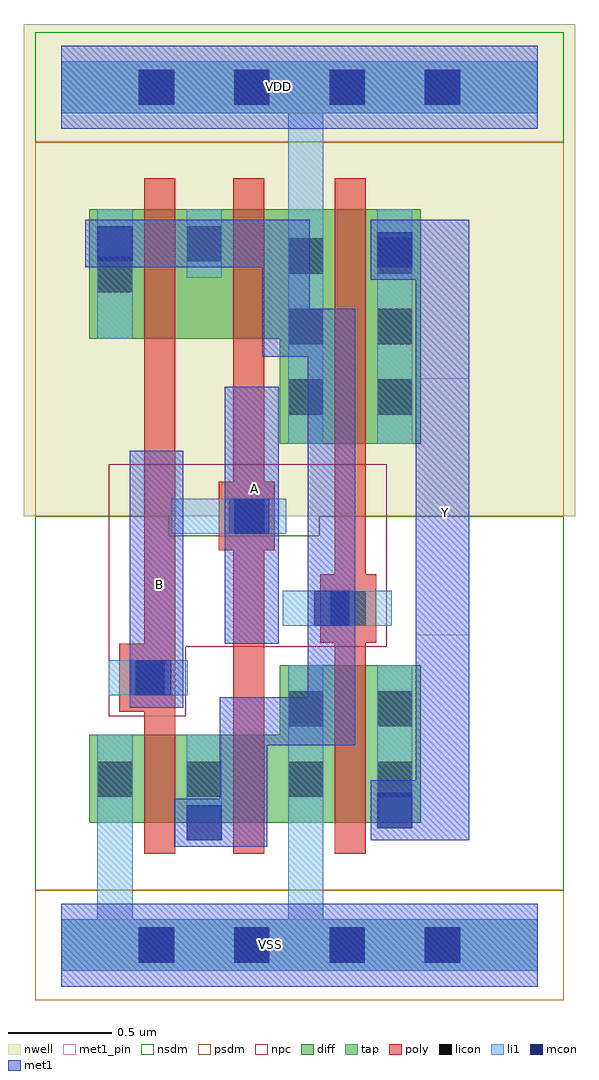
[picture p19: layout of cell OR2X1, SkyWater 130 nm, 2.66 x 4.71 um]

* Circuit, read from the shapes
.subckt OR2X1 A B VDD VSS Y
XM1 n1 B VSS VSS sky130_fd_pr__nfet_01v8 w=0.425 l=0.15
XM2 VSS A n1 VSS sky130_fd_pr__nfet_01v8 w=0.425 l=0.15
XM3 Y n1 VSS VSS sky130_fd_pr__nfet_01v8 w=0.76 l=0.15
XM4 n2 B n1 VDD sky130_fd_pr__pfet_01v8 w=0.625 l=0.15
XM5 VDD A n2 VDD sky130_fd_pr__pfet_01v8 w=0.625 l=0.15
XM6 Y n1 VDD VDD sky130_fd_pr__pfet_01v8 w=1.13 l=0.15
.ends

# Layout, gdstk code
from math import pi, radians
import gdstk
lib = gdstk.Library(unit=1e-6, precision=1e-09)
def R(c, l, rs):  # rectangles x0, y0, x1, y1
    for r in rs: c.add(gdstk.rectangle(r[:2], r[2:], *l))
def A(c, l, x, y, w, h, nx, ny, dx, dy):  # array of equal rectangles
    R(c, l, [(x+i*dx, y+j*dy, x+i*dx+w, y+j*dy+h) for i in range(nx) for j in range(ny)])
def P(c, l, *ps):  # polygons
    for p in ps: c.add(gdstk.Polygon(p, *l))
nwell = (64, 20)
diff = (65, 20)
tap = (65, 44)
poly = (66, 20)
licon = (66, 44)
li1 = (67, 20)
mcon = (67, 44)
met1_pin = (68, 16)
met1 = (68, 20)
nsdm = (93, 44)
psdm = (94, 20)
npc = (95, 20)

nfet_01v8_cdns_715785618 = lib.new_cell('nfet_01v8_CDNS_7157856182011')
R(nfet_01v8_cdns_715785618, diff, [(-0.265,0,0,0.425), (0,0,0.15,0.425), (0.15,0,0.205,0.425)])
R(nfet_01v8_cdns_715785618, poly, [(0,-0.15,0.15,-0.095), (0,-0.095,0.15,0), (0,0,0.15,0.425), (0,0.425,0.15,0.52), (0,0.52,0.15,0.575)])
R(nfet_01v8_cdns_715785618, licon, [(-0.225,0.125,-0.055,0.295)])
R(nfet_01v8_cdns_715785618, li1, [(-0.225,0,-0.055,0.425)])
R(nfet_01v8_cdns_715785618, nsdm, [(-0.405,-0.13,0.215,0.555)])

pfet_01v8_cdns_715785618 = lib.new_cell('pfet_01v8_CDNS_7157856182051')
R(pfet_01v8_cdns_715785618, nwell, [(-0.255,-0.18,0.555,0.805)])
R(pfet_01v8_cdns_715785618, diff, [(-0.075,0,0,0.625), (0,0,0.15,0.625), (0.15,0,0.375,0.625)])
R(pfet_01v8_cdns_715785618, poly, [(0,-0.15,0.15,-0.095), (0,-0.095,0.15,0), (0,0,0.15,0.625), (0,0.625,0.15,0.72), (0,0.72,0.15,0.775)])
R(pfet_01v8_cdns_715785618, psdm, [(0.045,-0.13,0.385,0.755)])

c_pfet_01v8_cdns_715785618 = lib.new_cell('pfet_01v8_CDNS_7157856182076')
R(c_pfet_01v8_cdns_715785618, nwell, [(-0.235,-0.18,0.595,0.805)])
R(c_pfet_01v8_cdns_715785618, diff, [(-0.055,0,0,0.625), (0,0,0.15,0.625), (0.15,0,0.415,0.625)])
R(c_pfet_01v8_cdns_715785618, poly, [(0,-0.15,0.15,-0.095), (0,-0.095,0.15,0), (0,0,0.15,0.625), (0,0.625,0.15,0.72), (0,0.72,0.15,0.775)])
R(c_pfet_01v8_cdns_715785618, licon, [(0.205,0.225,0.375,0.395)])
R(c_pfet_01v8_cdns_715785618, li1, [(0.205,0,0.375,0.625)])
R(c_pfet_01v8_cdns_715785618, psdm, [(-0.065,-0.13,0.555,0.755)])

c_nfet_01v8_cdns_715785618 = lib.new_cell('nfet_01v8_CDNS_7157856182034')
R(c_nfet_01v8_cdns_715785618, diff, [(-0.265,0,0,0.76), (0,0,0.15,0.76), (0.15,0,0.415,0.76)])
R(c_nfet_01v8_cdns_715785618, poly, [(0,-0.15,0.15,-0.095), (0,-0.095,0.15,0), (0,0,0.15,0.76), (0,0.76,0.15,0.855), (0,0.855,0.15,0.91)])
R(c_nfet_01v8_cdns_715785618, licon, [(-0.225,0.125,-0.055,0.295), (0.205,0.125,0.375,0.295), (-0.225,0.465,-0.055,0.635), (0.205,0.465,0.375,0.635)])
R(c_nfet_01v8_cdns_715785618, li1, [(-0.225,0,-0.055,0.76), (0.205,0,0.375,0.76)])
R(c_nfet_01v8_cdns_715785618, nsdm, [(-0.405,-0.13,0.555,0.89)])

c_pfet_01v8_cdns_715785618_ = lib.new_cell('pfet_01v8_CDNS_7157856182038')
R(c_pfet_01v8_cdns_715785618_, nwell, [(-0.445,-0.18,0.595,1.31)])
R(c_pfet_01v8_cdns_715785618_, diff, [(-0.265,0,0,1.13), (0,0,0.15,1.13), (0.15,0,0.415,1.13)])
R(c_pfet_01v8_cdns_715785618_, poly, [(0,-0.15,0.15,-0.095), (0,-0.095,0.15,0), (0,0,0.15,1.13), (0,1.13,0.15,1.225), (0,1.225,0.15,1.28)])
A(c_pfet_01v8_cdns_715785618_, licon, -0.225, 0.14, 0.17, 0.17, 1, 3, 0, 0.34)
A(c_pfet_01v8_cdns_715785618_, licon, 0.205, 0.14, 0.17, 0.17, 1, 3, 0, 0.34)
R(c_pfet_01v8_cdns_715785618_, li1, [(-0.225,0,-0.055,1.13), (0.205,0,0.375,1.13)])
R(c_pfet_01v8_cdns_715785618_, psdm, [(-0.405,-0.13,0.555,1.26)])

c_nfet_01v8_cdns_715785618_ = lib.new_cell('nfet_01v8_CDNS_71578561820120')
R(c_nfet_01v8_cdns_715785618_, diff, [(-0.075,0,0,0.425), (0,0,0.15,0.425), (0.15,0,0.375,0.425)])
R(c_nfet_01v8_cdns_715785618_, poly, [(0,-0.15,0.15,-0.095), (0,-0.095,0.15,0), (0,0,0.15,0.425), (0,0.425,0.15,0.52), (0,0.52,0.15,0.575)])
R(c_nfet_01v8_cdns_715785618_, licon, [(0.205,0.125,0.375,0.295)])
R(c_nfet_01v8_cdns_715785618_, li1, [(0.205,0,0.375,0.425)])
R(c_nfet_01v8_cdns_715785618_, nsdm, [(0.045,-0.13,0.385,0.555)])

l1m1_c_cdns_715785618202 = lib.new_cell('L1M1_C_CDNS_7157856182024')
R(l1m1_c_cdns_715785618202, li1, [(-0.085,-0.085,0.085,0.165)])
R(l1m1_c_cdns_715785618202, mcon, [(-0.085,-0.085,0.085,0.085)])
R(l1m1_c_cdns_715785618202, met1, [(-0.145,-0.115,0.145,0.115)])

lilicon_c_cdns_715785618 = lib.new_cell('LILICON_C_CDNS_7157856182025')
R(lilicon_c_cdns_715785618, licon, [(-0.085,-0.085,0.085,0.085), (-0.085,-0.085,0.085,0.085)])
R(lilicon_c_cdns_715785618, li1, [(-0.085,-0.165,0.085,0.165)])

c_l1m1_c_cdns_715785618202 = lib.new_cell('L1M1_C_CDNS_715785618202')
R(c_l1m1_c_cdns_715785618202, li1, [(-0.085,-0.165,0.085,0.165)])
R(c_l1m1_c_cdns_715785618202, mcon, [(-0.085,-0.085,0.085,0.085)])
R(c_l1m1_c_cdns_715785618202, met1, [(-0.115,-0.145,0.115,0.145)])

l1m1_c_cdns_715785618206 = lib.new_cell('L1M1_C_CDNS_715785618206')
R(l1m1_c_cdns_715785618206, li1, [(-0.085,-0.165,0.085,0.165)])
R(l1m1_c_cdns_715785618206, mcon, [(-0.085,-0.085,0.085,0.085)])
R(l1m1_c_cdns_715785618206, met1, [(-0.145,-0.115,0.145,0.115)])

pyl1con_c_cdns_715785618 = lib.new_cell('PYL1CON_C_CDNS_715785618200')
R(pyl1con_c_cdns_715785618, poly, [(-0.135,-0.165,0.135,0.165)])
R(pyl1con_c_cdns_715785618, licon, [(-0.085,-0.085,0.085,0.085)])
R(pyl1con_c_cdns_715785618, npc, [(-0.185,-0.185,0.185,0.185)])

l1m1_c_cdns_715785618203 = lib.new_cell('L1M1_C_CDNS_715785618203')
R(l1m1_c_cdns_715785618203, li1, [(-0.165,-0.085,0.165,0.085)])
R(l1m1_c_cdns_715785618203, mcon, [(-0.085,-0.085,0.085,0.085)])
R(l1m1_c_cdns_715785618203, met1, [(-0.115,-0.145,0.115,0.145)])

l1m1_c_cdns_715785618201 = lib.new_cell('L1M1_C_CDNS_7157856182010')
R(l1m1_c_cdns_715785618201, li1, [(-0.085,-0.085,0.085,0.165)])
R(l1m1_c_cdns_715785618201, mcon, [(-0.085,-0.085,0.085,0.085)])
R(l1m1_c_cdns_715785618201, met1, [(-0.115,-0.145,0.115,0.145)])

or2x1 = lib.new_cell('OR2X1')
R(or2x1, nwell, [(-0.18,2.07,2.48,4.305), (-0.18,3.875,2.48,4.445)])
R(or2x1, licon, [(0.375,-0.085,0.545,0.085), (0.375,-0.085,0.545,0.085), (0.835,-0.085,1.005,0.085), (0.835,-0.085,1.005,0.085), (1.295,-0.085,1.465,0.085), (1.295,-0.085,1.465,0.085), (1.755,-0.085,1.925,0.085), (1.755,-0.085,1.925,0.085), (0.375,4.055,0.545,4.225), (0.375,4.055,0.545,4.225), (0.835,4.055,1.005,4.225), (0.835,4.055,1.005,4.225), (1.295,4.055,1.465,4.225), (1.295,4.055,1.465,4.225), (1.755,4.055,1.925,4.225), (1.755,4.055,1.925,4.225)])
R(or2x1, mcon, [(0.375,-0.085,0.545,0.085), (0.375,-0.085,0.545,0.085), (0.835,-0.085,1.005,0.085), (0.835,-0.085,1.005,0.085), (1.295,-0.085,1.465,0.085), (1.295,-0.085,1.465,0.085), (1.755,-0.085,1.925,0.085), (1.755,-0.085,1.925,0.085), (0.375,4.055,0.545,4.225), (0.375,4.055,0.545,4.225), (0.835,4.055,1.005,4.225), (0.835,4.055,1.005,4.225), (1.295,4.055,1.465,4.225), (1.295,4.055,1.465,4.225), (1.755,4.055,1.925,4.225), (1.755,4.055,1.925,4.225)])
R(or2x1, met1_pin, [(0.33,1.145,0.59,2.385), (0.79,1.455,1.05,2.695), (1.71,1.495,1.97,2.735)])
R(or2x1, nsdm, [(-0.125,3.875,2.425,4.405), (-0.125,3.875,2.425,4.405), (-0.125,3.93,2.425,4.35), (-0.125,3.93,2.425,4.35)])
P(or2x1, nsdm, [(2.425,2.07),(1.245,2.07),(1.245,1.975),(0.52,1.975),(0.52,2.07),(-0.125,2.07),(-0.125,0.265),(2.425,0.265)])
R(or2x1, psdm, [(-0.125,-0.265,2.425,0.265), (-0.125,-0.21,2.425,0.21)])
P(or2x1, psdm, [(2.425,3.875),(-0.125,3.875),(-0.125,2.07),(0.52,2.07),(0.52,1.975),(1.245,1.975),(1.245,2.07),(2.425,2.07)])
R(or2x1, npc, [(0.23,1.105,0.45,2.32), (0.45,1.44,1.57,2.32)])
or2x1.add(gdstk.FlexPath([(0.905,1.165),(0.905,2.775)], 0.15, ends="flush", simple_path=True, layer=66, datatype=20))  # poly
or2x1.add(gdstk.FlexPath([(0.475,2.775),(0.475,1.165)], 0.15, ends="flush", simple_path=True, layer=66, datatype=20))  # poly
or2x1.add(gdstk.FlexPath([(1.395,2.27),(1.395,1.5)], 0.15, ends="flush", simple_path=True, layer=66, datatype=20))  # poly
or2x1.add(gdstk.FlexPath([(0.445,1.29),(0.23,1.29)], 0.17, ends="flush", simple_path=True, layer=67, datatype=20))  # li1
or2x1.add(gdstk.FlexPath([(1.06,2.07),(0.53,2.07)], 0.17, ends="flush", simple_path=True, layer=67, datatype=20))  # li1
or2x1.add(gdstk.FlexPath([(1.595,1.625),(1.07,1.625)], 0.17, ends="flush", simple_path=True, layer=67, datatype=20))  # li1
or2x1.add(gdstk.FlexPath([(2.215,0),(0,0)], 0.25, ends=(0.085, 0), simple_path=True, layer=67, datatype=20))  # li1
or2x1.add(gdstk.FlexPath([(2.215,0),(0,0)], 0.25, ends=(0.085, 0), simple_path=True, layer=67, datatype=20))  # li1
or2x1.add(gdstk.FlexPath([(2.215,4.14),(0,4.14)], 0.25, ends=(0.085, 0), simple_path=True, layer=67, datatype=20))  # li1
or2x1.add(gdstk.FlexPath([(2.215,4.14),(0,4.14)], 0.25, ends=(0.085, 0), simple_path=True, layer=67, datatype=20))  # li1
or2x1.add(gdstk.FlexPath([(1.18,0.59),(1.18,0)], 0.17, ends="flush", simple_path=True, layer=67, datatype=20))  # li1
or2x1.add(gdstk.FlexPath([(0.26,0),(0.215,0)], 0.17, ends=(0.085, 0), simple_path=True, layer=67, datatype=20))  # li1
or2x1.add(gdstk.FlexPath([(0.26,0.59),(0.26,0)], 0.17, ends=(0, 0.085), simple_path=True, layer=67, datatype=20))  # li1
or2x1.add(gdstk.FlexPath([(1.18,3.55),(1.18,4.14)], 0.17, ends="flush", simple_path=True, layer=67, datatype=20))  # li1
or2x1.add(gdstk.FlexPath([(0,0),(2.3,0)], 0.25, ends="flush", simple_path=True, layer=65, datatype=44))  # tap
or2x1.add(gdstk.FlexPath([(0,0),(2.3,0)], 0.25, ends="flush", simple_path=True, layer=65, datatype=44))  # tap
or2x1.add(gdstk.FlexPath([(0,4.14),(2.3,4.14)], 0.25, ends="flush", simple_path=True, layer=65, datatype=44))  # tap
or2x1.add(gdstk.FlexPath([(0,4.14),(2.3,4.14)], 0.25, ends="flush", simple_path=True, layer=65, datatype=44))  # tap
or2x1.add(gdstk.FlexPath([(0.92,1.455),(0.92,2.695)], 0.26, ends="flush", simple_path=True, layer=68, datatype=20))  # met1
or2x1.add(gdstk.FlexPath([(0.275,3.385),(1.085,3.385)], 0.23, ends=(0, 0.115), simple_path=True, layer=68, datatype=20))  # met1
or2x1.add(gdstk.FlexPath([(1.305,1.92),(1.305,1.68)], 0.23, ends=(0, 0.115), simple_path=True, layer=68, datatype=20))  # met1
or2x1.add(gdstk.FlexPath([(1.085,3.385),(1.085,2.955)], 0.23, ends=(0, 0.115), simple_path=True, layer=68, datatype=20))  # met1
or2x1.add(gdstk.FlexPath([(1.305,1.08),(0.88,1.08)], 0.23, ends="extended", simple_path=True, layer=68, datatype=20))  # met1
or2x1.add(gdstk.FlexPath([(1.305,2.955),(1.305,1.92)], 0.23, ends=(0.115, 0), simple_path=True, layer=68, datatype=20))  # met1
or2x1.add(gdstk.FlexPath([(0.46,1.145),(0.46,2.385)], 0.26, ends="flush", simple_path=True, layer=68, datatype=20))  # met1
or2x1.add(gdstk.FlexPath([(1.84,0.505),(1.84,3.5)], 0.26, ends="flush", simple_path=True, layer=68, datatype=20))  # met1
or2x1.add(gdstk.FlexPath([(1.305,1.425),(1.305,1.08)], 0.23, ends=(0, 0.115), simple_path=True, layer=68, datatype=20))  # met1
or2x1.add(gdstk.FlexPath([(1.085,2.955),(1.305,2.955)], 0.23, ends="extended", simple_path=True, layer=68, datatype=20))  # met1
or2x1.add(gdstk.FlexPath([(0.88,1.08),(0.88,0.475)], 0.23, ends=(0.115, 0), simple_path=True, layer=68, datatype=20))  # met1
or2x1.add(gdstk.FlexPath([(1.305,1.68),(1.305,1.425)], 0.23, ends=(0, 0.115), simple_path=True, layer=68, datatype=20))  # met1
or2x1.add(gdstk.FlexPath([(0,0),(2.3,0)], 0.4, ends="flush", simple_path=True, layer=68, datatype=20))  # met1
or2x1.add(gdstk.FlexPath([(0,4.14),(2.3,4.14)], 0.4, ends="flush", simple_path=True, layer=68, datatype=20))  # met1
or2x1.add(gdstk.FlexPath([(0,0),(2.3,0)], 0.4, ends="flush", simple_path=True, layer=68, datatype=16))  # met1_pin
or2x1.add(gdstk.FlexPath([(0,4.14),(2.3,4.14)], 0.4, ends="flush", simple_path=True, layer=68, datatype=16))  # met1_pin
or2x1.add(gdstk.FlexPath([(0,4.14),(2.3,4.14)], 0.4, ends="flush", simple_path=True, layer=68, datatype=16))  # met1_pin
or2x1.add(gdstk.FlexPath([(0,0),(2.3,0)], 0.4, ends="flush", simple_path=True, layer=68, datatype=16))  # met1_pin
or2x1.add(gdstk.Reference(nfet_01v8_cdns_715785618, (0.4,0.59)))
or2x1.add(gdstk.Reference(pfet_01v8_cdns_715785618, (0.98,2.925), rotation=pi, x_reflection=True))
or2x1.add(gdstk.Reference(c_pfet_01v8_cdns_715785618, (0.55,2.925), rotation=pi, x_reflection=True))
or2x1.add(gdstk.Reference(c_nfet_01v8_cdns_715785618, (1.32,0.59)))
or2x1.add(gdstk.Reference(c_pfet_01v8_cdns_715785618_, (1.32,2.42)))
or2x1.add(gdstk.Reference(c_nfet_01v8_cdns_715785618_, (0.98,0.59), rotation=pi, x_reflection=True))
or2x1.add(gdstk.Reference(l1m1_c_cdns_715785618202, (0.69,0.59)))
or2x1.add(gdstk.Reference(lilicon_c_cdns_715785618, (0.69,3.385)))
or2x1.add(gdstk.Reference(c_l1m1_c_cdns_715785618202, (1.61,3.355)))
or2x1.add(gdstk.Reference(l1m1_c_cdns_715785618206, (0.445,1.29), rotation=pi/2))
or2x1.add(gdstk.Reference(l1m1_c_cdns_715785618206, (0.26,3.385)))
or2x1.add(gdstk.Reference(pyl1con_c_cdns_715785618, (0.895,2.07)))
or2x1.add(gdstk.Reference(pyl1con_c_cdns_715785618, (1.385,1.625)))
or2x1.add(gdstk.Reference(pyl1con_c_cdns_715785618, (0.415,1.29)))
or2x1.add(gdstk.Reference(l1m1_c_cdns_715785618203, (1.305,1.625)))
or2x1.add(gdstk.Reference(l1m1_c_cdns_715785618203, (0.92,2.07), x_reflection=True))
or2x1.add(gdstk.Reference(l1m1_c_cdns_715785618201, (1.61,0.65)))
or2x1.add(gdstk.Label('VDD', (1.05,4.145), layer=68, texttype=20))
or2x1.add(gdstk.Label('A', (0.935,2.205), layer=68, texttype=20))
or2x1.add(gdstk.Label('B', (0.475,1.74), layer=68, texttype=20))
or2x1.add(gdstk.Label('VSS', (1.01,0.005), layer=68, texttype=20))
or2x1.add(gdstk.Label('Y', (1.855,2.09), layer=68, texttype=20))

lib.write_gds('OR2X1.gds')
